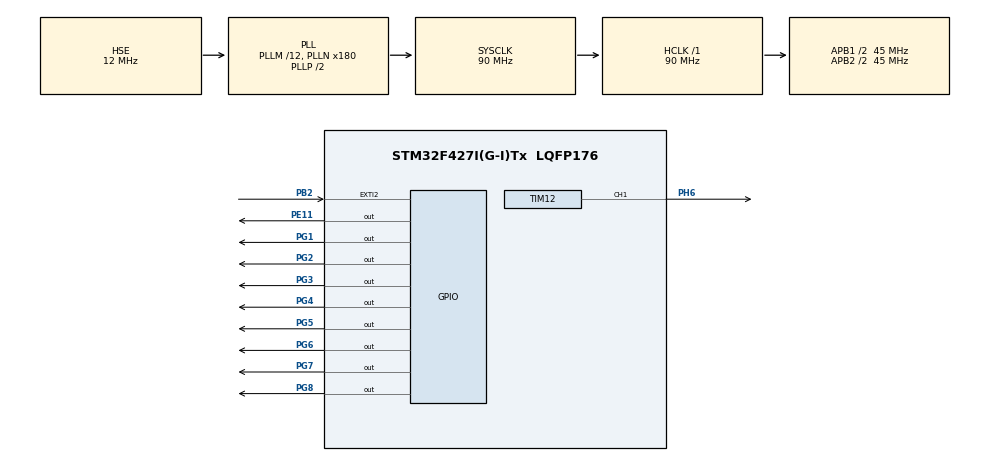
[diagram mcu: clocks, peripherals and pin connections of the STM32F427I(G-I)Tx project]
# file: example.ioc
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Mcu.Family=STM32F4
Mcu.Name=STM32F427I(G-I)Tx
Mcu.Package=LQFP176
NVIC.PriorityGroup=NVIC_PRIORITYGROUP_4
PB2/BOOT1.Signal=GPXTI2
PE11.Signal=GPIO_Output
PG1.Signal=GPIO_Output
PG2.Signal=GPIO_Output
PG3.Signal=GPIO_Output
PG4.Signal=GPIO_Output
PG5.Signal=GPIO_Output
PG6.Signal=GPIO_Output
PG7.Signal=GPIO_Output
PG8.Signal=GPIO_Output
PH0/OSC_IN.Mode=HSE-External-Oscillator
PH0/OSC_IN.Signal=RCC_OSC_IN
PH1/OSC_OUT.Mode=HSE-External-Oscillator
PH1/OSC_OUT.Signal=RCC_OSC_OUT
PH6.Signal=S_TIM12_CH1
ProjectManager.HeapSize=0x200
ProjectManager.StackSize=0x400
ProjectManager.TargetToolchain=MDK-ARM V5
RCC.48MHZClocksFreq_Value=45000000
RCC.AHBFreq_Value=90000000
RCC.APB1CLKDivider=RCC_HCLK_DIV2
RCC.APB1Freq_Value=45000000
RCC.APB1TimFreq_Value=90000000
RCC.APB2CLKDivider=RCC_HCLK_DIV2
RCC.APB2Freq_Value=45000000
RCC.APB2TimFreq_Value=90000000
RCC.CortexFreq_Value=90000000
RCC.HCLKFreq_Value=90000000
RCC.HSE_VALUE=12000000
RCC.HSI_VALUE=16000000
RCC.LSE_VALUE=32768
RCC.PLLM=12
RCC.PLLN=180
RCC.PLLSourceVirtual=RCC_PLLSOURCE_HSE
RCC.SYSCLKFreq_VALUE=90000000
RCC.SYSCLKSource=RCC_SYSCLKSOURCE_PLLCLK
RCC.VCOOutputFreq_Value=180000000
SH.S_TIM12_CH1.0=TIM12_CH1,PWM Generation1 CH1
TIM12.Channel-PWM\ Generation1\ CH1=TIM_CHANNEL_1
TIM12.Period=369
TIM12.Prescaler=89
TIM12.Pulse-PWM\ Generation1\ CH1=185
TIM7.Period=1
TIM7.Prescaler=1
VP_TIM12_VS_ClockSourceINT.Mode=Internal
VP_TIM7_VS_ClockSourceINT.Mode=Enable_Timer
board=custom

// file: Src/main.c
/* USER CODE BEGIN Header */
/**
  ******************************************************************************
  * @file           : main.c
  * @brief          : Main program body
  ******************************************************************************
  * @attention
  *
  * <h2><center>&copy; Copyright (c) 2019 STMicroelectronics.
  * All rights reserved.</center></h2>
  *
  * This software component is licensed by ST under BSD 3-Clause license,
  * the "License"; You may not use this file except in compliance with the
  * License. You may obtain a copy of the License at:
  *                        opensource.org/licenses/BSD-3-Clause
  *
  ******************************************************************************
  */
/* USER CODE END Header */

#include "main.h"
#include "tim.h"
#include "gpio.h"

void SystemClock_Config(void);
/* USER CODE BEGIN PFP */
void tim_delay_us(uint16_t us);
/* USER CODE END PFP */

int main(void)
{

  /* MCU Configuration--------------------------------------------------------*/

  /* Reset of all peripherals, Initializes the Flash interface and the Systick. */
  HAL_Init();

  /* Configure the system clock */
  SystemClock_Config();

  /* Initialize all configured peripherals */
  MX_GPIO_Init();
  MX_TIM12_Init();
  MX_TIM7_Init();
  /* USER CODE BEGIN 2 */
	HAL_TIM_Base_Start_IT(&htim7);
  /* USER CODE END 2 */

  /* Infinite loop */
  while (1)
  {

    /* USER CODE BEGIN 3 */
					HAL_TIM_PWM_Start(&htim12, TIM_CHANNEL_1);
					HAL_GPIO_WritePin(GPIOE, GPIO_PIN_11, GPIO_PIN_RESET);
					HAL_Delay(125);
					HAL_TIM_PWM_Stop(&htim12, TIM_CHANNEL_1);
					//__HAL_TIM_SET_COMPARE(&htim12, TIM_CHANNEL_1,0);
					HAL_GPIO_WritePin(GPIOE, GPIO_PIN_11, GPIO_PIN_SET);
					HAL_Delay(125);
					HAL_TIM_PWM_Start(&htim12, TIM_CHANNEL_1);
					HAL_GPIO_WritePin(GPIOE, GPIO_PIN_11, GPIO_PIN_RESET);
					HAL_Delay(125);
					HAL_TIM_PWM_Stop(&htim12, TIM_CHANNEL_1);
					HAL_GPIO_WritePin(GPIOE, GPIO_PIN_11, GPIO_PIN_SET);
					HAL_Delay(125);
					HAL_TIM_PWM_Start(&htim12, TIM_CHANNEL_1);
					HAL_GPIO_WritePin(GPIOE, GPIO_PIN_11, GPIO_PIN_RESET);
					HAL_Delay(125);
					HAL_TIM_PWM_Stop(&htim12, TIM_CHANNEL_1);
					HAL_GPIO_WritePin(GPIOE, GPIO_PIN_11, GPIO_PIN_SET);
					HAL_Delay(125);
					HAL_TIM_PWM_Start(&htim12, TIM_CHANNEL_1);
					HAL_GPIO_WritePin(GPIOE, GPIO_PIN_11, GPIO_PIN_RESET);
					HAL_Delay(125);
					HAL_TIM_PWM_Stop(&htim12, TIM_CHANNEL_1);
					HAL_GPIO_WritePin(GPIOE, GPIO_PIN_11, GPIO_PIN_SET);
					HAL_Delay(125);
					HAL_Delay(1000);

  }
  /* USER CODE END 3 */
}

void SystemClock_Config(void)
{
  RCC_OscInitTypeDef RCC_OscInitStruct = {0};
  RCC_ClkInitTypeDef RCC_ClkInitStruct = {0};

  /** Configure the main internal regulator output voltage
  */
  __HAL_RCC_PWR_CLK_ENABLE();
  __HAL_PWR_VOLTAGESCALING_CONFIG(PWR_REGULATOR_VOLTAGE_SCALE3);
  /** Initializes the CPU, AHB and APB busses clocks
  */
  RCC_OscInitStruct.OscillatorType = RCC_OSCILLATORTYPE_HSE;
  RCC_OscInitStruct.HSEState = RCC_HSE_ON;
  RCC_OscInitStruct.PLL.PLLState = RCC_PLL_ON;
  RCC_OscInitStruct.PLL.PLLSource = RCC_PLLSOURCE_HSE;
  RCC_OscInitStruct.PLL.PLLM = 12;
  RCC_OscInitStruct.PLL.PLLN = 180;
  RCC_OscInitStruct.PLL.PLLP = RCC_PLLP_DIV2;
  RCC_OscInitStruct.PLL.PLLQ = 4;
  if (HAL_RCC_OscConfig(&RCC_OscInitStruct) != HAL_OK)
  {
    Error_Handler();
  }
  /** Activate the Over-Drive mode
  */
  if (HAL_PWREx_EnableOverDrive() != HAL_OK)
  {
    Error_Handler();
  }
  /** Initializes the CPU, AHB and APB busses clocks
  */
  RCC_ClkInitStruct.ClockType = RCC_CLOCKTYPE_HCLK|RCC_CLOCKTYPE_SYSCLK
                              |RCC_CLOCKTYPE_PCLK1|RCC_CLOCKTYPE_PCLK2;
  RCC_ClkInitStruct.SYSCLKSource = RCC_SYSCLKSOURCE_PLLCLK;
  RCC_ClkInitStruct.AHBCLKDivider = RCC_SYSCLK_DIV1;
  RCC_ClkInitStruct.APB1CLKDivider = RCC_HCLK_DIV2;
  RCC_ClkInitStruct.APB2CLKDivider = RCC_HCLK_DIV2;

  if (HAL_RCC_ClockConfig(&RCC_ClkInitStruct, FLASH_LATENCY_2) != HAL_OK)
  {
    Error_Handler();
  }
}

/* USER CODE BEGIN 4 */
void tim_delay_us(uint16_t us)
{
//	HAL_TIM_Base_Start_IT(&htim7);
	__HAL_TIM_SetCounter(&htim7,5);
	while(__HAL_TIM_GetCounter(&htim7) < 45*us+5);
//	HAL_TIM_Base_Stop_IT(&htim7);
}

/* USER CODE END 4 */

void Error_Handler(void)
{
}

/************************ (C) COPYRIGHT STMicroelectronics *****END OF FILE****/
